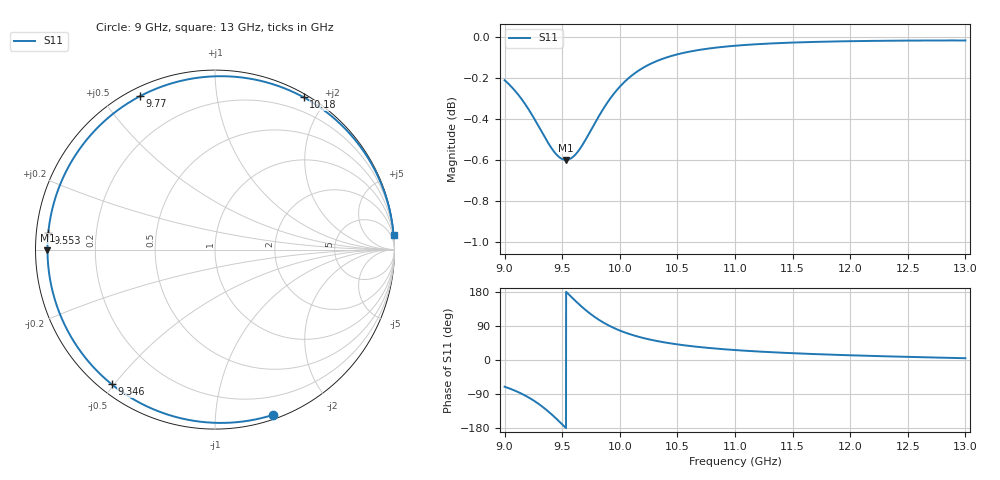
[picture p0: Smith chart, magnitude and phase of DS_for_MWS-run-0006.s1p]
! TOUCHSTONE file generated by CST DESIGN STUDIO
! Date and time: Tue Feb  4 18:07:16 2025
! Project name: C:\Work\MatlabApps\UnitCellOptimizationMatlab\CST\unitcell.cst
! Tree item: Tasks\Sweep1\SPara1\S-Parameters
! Header version: 2024
! Port assignment regex: !\s*Touchstone port\s*([0-9]+)\s*=\s*(CST MWS port|CST DES external port|CST DES block port)\s*(.+)\s* \(\"(.*)\"\)(\s*mode\s*([0-9]+))?.*
! Touchstone port assignment:
! Touchstone port 1 = CST DES external port 1 ("")
# GHz S MA R 50
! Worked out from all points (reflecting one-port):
!   4001 points, 9 GHz to 13 GHz, reference 50 ohm
!   lowest |S11| = -0.6 dB at 9.533 GHz (marker M1), VSWR 29.03, Z = 1.72 - j0.0924 ohm
!   phase of S11 starts at -71 deg and turns -285 deg over the sweep
!   S11 on the Smith chart (normalised r, x): 9 GHz: 0.04, -1.41; 9.346 GHz: 0.03, -0.49; 9.553 GHz: 0.03, +0.05; 9.77 GHz: 0.03, +0.62; 10.18 GHz: 0.04, +1.74; 13 GHz: 1, +24
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9  0.976 -70.5
9.096  0.9698 -81.7
9.203  0.9607 -97.9
9.278  0.953 -112.1
9.346  0.9456 -127.5
9.418  0.9386 -146.2
9.461  0.9355 -158.4
9.5  0.9338 -169.9
9.533  0.9334 -179.8
9.553  0.9336 174.2
9.607  0.9357 158.2
9.667  0.9404 141.3
9.718  0.9456 128.2
9.77  0.9513 116.1
9.818  0.9565 106.2
9.871  0.9619 96.5
9.935  0.9675 86.4
10  0.9724 77.8
10.087  0.9777 68.2
10.182  0.982 59.7
10.327  0.9867 49.8
10.5  0.9902 41.2
10.721  0.993 33.3
11  0.995 26.2
11.5  0.9968 18.0
12  0.9975 12.4
12.5  0.9979 8.2
13  0.9979 4.7
